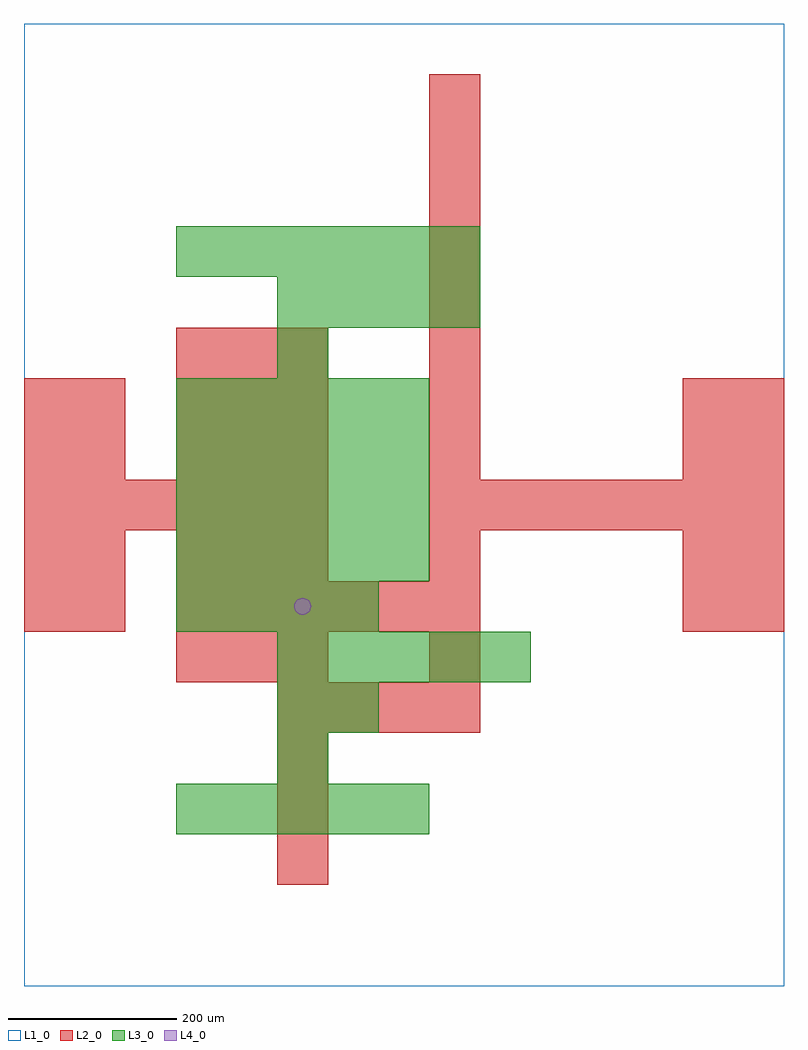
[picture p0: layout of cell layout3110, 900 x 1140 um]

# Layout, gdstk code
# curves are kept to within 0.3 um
import gdstk
lib = gdstk.Library(unit=1e-6, precision=1e-09)
def R(c, l, rs):  # rectangles x0, y0, x1, y1
    for r in rs: c.add(gdstk.rectangle(r[:2], r[2:], *l))
def A(c, l, x, y, w, h, nx, ny, dx, dy):  # array of equal rectangles
    R(c, l, [(x+i*dx, y+j*dy, x+i*dx+w, y+j*dy+h) for i in range(nx) for j in range(ny)])
def P(c, l, *ps):  # polygons
    for p in ps: c.add(gdstk.Polygon(p, *l))
L1_0 = (1, 0)
L2_0 = (2, 0)
L3_0 = (3, 0)
L4_0 = (4, 0)

layout3110 = lib.new_cell('layout3110')
R(layout3110, L1_0, [(0,0,900,1140)])
A(layout3110, L2_0, 300, 120, 60, 60, 1, 3, 0, 60)
A(layout3110, L2_0, 300, 300, 60, 60, 4, 1, 60, 0)
A(layout3110, L2_0, 180, 360, 60, 60, 3, 3, 60, 120)
A(layout3110, L2_0, 480, 360, 60, 60, 1, 3, 0, 120)
A(layout3110, L2_0, 180, 420, 60, 60, 6, 1, 60, 0)
A(layout3110, L2_0, 0, 540, 60, 60, 6, 1, 60, 0)
A(layout3110, L2_0, 480, 540, 60, 60, 7, 1, 60, 0)
A(layout3110, L2_0, 180, 660, 60, 60, 3, 2, 60, 60)
A(layout3110, L2_0, 480, 660, 60, 60, 1, 7, 0, 60)
R(layout3110, L2_0, [(0,420,60,480), (60,420,120,480), (780,420,840,480), (840,420,900,480), (0,480,60,540), (60,480,120,540), (780,480,840,540), (840,480,900,540), (0,600,60,660), (60,600,120,660), (780,600,840,660), (840,600,900,660), (0,660,60,720), (60,660,120,720), (780,660,840,720), (840,660,900,720)])
A(layout3110, L3_0, 180, 180, 60, 60, 5, 2, 60, 300)
A(layout3110, L3_0, 300, 360, 60, 60, 5, 1, 60, 0)
A(layout3110, L3_0, 180, 420, 60, 60, 4, 1, 60, 0)
A(layout3110, L3_0, 180, 540, 60, 60, 5, 3, 60, 60)
A(layout3110, L3_0, 300, 780, 60, 60, 4, 1, 60, 0)
A(layout3110, L3_0, 180, 840, 60, 60, 6, 1, 60, 0)
R(layout3110, L3_0, [(300,240,360,300), (300,300,360,360), (360,300,420,360), (300,720,360,780)])
P(layout3110, L4_0, [(340,450),(339.239,453.827),(337.071,457.071),(333.827,459.239),(330,460),(326.173,459.239),(322.929,457.071),(320.761,453.827),(320,450),(320.761,446.173),(322.929,442.929),(326.173,440.761),(330,440),(333.827,440.761),(337.071,442.929),(339.239,446.173)])

lib.write_gds('layout3110.gds')
